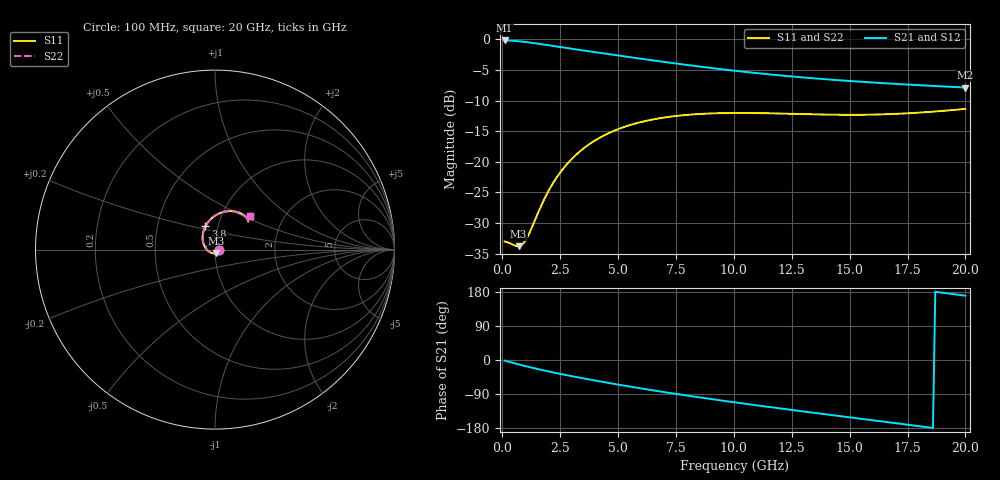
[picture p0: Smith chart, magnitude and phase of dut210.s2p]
! Created with skrf 1.9.0 (http://scikit-rf.org).
# GHz S RI R 50.0
!freq ReS11 ImS11 ReS21 ImS21 ReS12 ImS12 ReS22 ImS22
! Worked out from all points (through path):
!   200 points, 100 MHz to 20 GHz, reference 50 ohm
!   highest |S21| = -0.20 dB at 100 MHz (marker M1); lowest = -7.9 dB at 20 GHz (marker M2)
!   group delay of S21, straight-line fit = 25 ps
!   lowest |S11| = -33.8 dB at 700 MHz (marker M3), VSWR 1.04, Z = 50.5 - j1.99 ohm
!   |S11| at or under -10 dB: start of sweep to end of sweep
!   |S22| runs from -33.8 to -11.4 dB; largest |S21 - S12| = 2.6e-15
!   S11 on the Smith chart (normalised r, x): 100 MHz: 1.04, -0.01; 3.8 GHz: 0.87, +0.23; 20 GHz: 1.36, +0.55
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0.1  0.022 -0.00399  0.9769 -0.028  0.9769 -0.028  0.022 -0.00399
0.7  0.00549 -0.0197  0.9439 -0.1913  0.9439 -0.1913  0.00549 -0.0197
0.9  -0.00406 -0.0211  0.9239 -0.2404  0.9239 -0.2404  -0.00406 -0.0211
1.1  -0.0145 -0.0198  0.9005 -0.2862  0.9005 -0.2862  -0.0145 -0.0198
1.8  -0.0488 0.00362  0.8021 -0.4192  0.8021 -0.4192  -0.0488 0.00362
2.3  -0.0641 0.033  0.7248 -0.4911  0.7248 -0.4911  -0.0641 0.033
2.6  -0.0683 0.053  0.6775 -0.5266  0.6775 -0.5266  -0.0683 0.053
2.9  -0.069 0.0734  0.6303 -0.5573  0.6303 -0.5573  -0.069 0.0734
3.5  -0.061 0.1127  0.5365 -0.6059  0.5365 -0.6059  -0.061 0.1127
3.8  -0.0531 0.1305  0.4902 -0.6245  0.4902 -0.6245  -0.0531 0.1305
4.4  -0.032 0.1611  0.3998 -0.6517  0.3998 -0.6517  -0.032 0.1611
5.1  -0.00182 0.1875  0.2987 -0.6683  0.2987 -0.6683  -0.00182 0.1875
5.9  0.0349 0.206  0.191 -0.6702  0.191 -0.6702  0.0349 0.206
6.8  0.0741 0.2142  0.0815 -0.6551  0.0815 -0.6551  0.0741 0.2142
8.4  0.1294 0.2077  -0.0803 -0.5968  -0.0803 -0.5968  0.1294 0.2077
10.1  0.1649 0.1882  -0.2092 -0.5101  -0.2092 -0.5101  0.1649 0.1882
11.7  0.1806 0.1705  -0.2971 -0.4182  -0.2971 -0.4182  0.1806 0.1705
13.4  0.1853 0.1586  -0.362 -0.3161  -0.362 -0.3161  0.1853 0.1586
15  0.1846 0.1559  -0.4004 -0.2187  -0.4004 -0.2187  0.1846 0.1559
16.7  0.1838 0.1614  -0.4194 -0.1159  -0.4194 -0.1159  0.1838 0.1614
18.3  0.1865 0.1723  -0.418 -0.0221  -0.418 -0.0221  0.1865 0.1723
20  0.1951 0.1867  -0.397 0.0715  -0.397 0.0715  0.1951 0.1867
